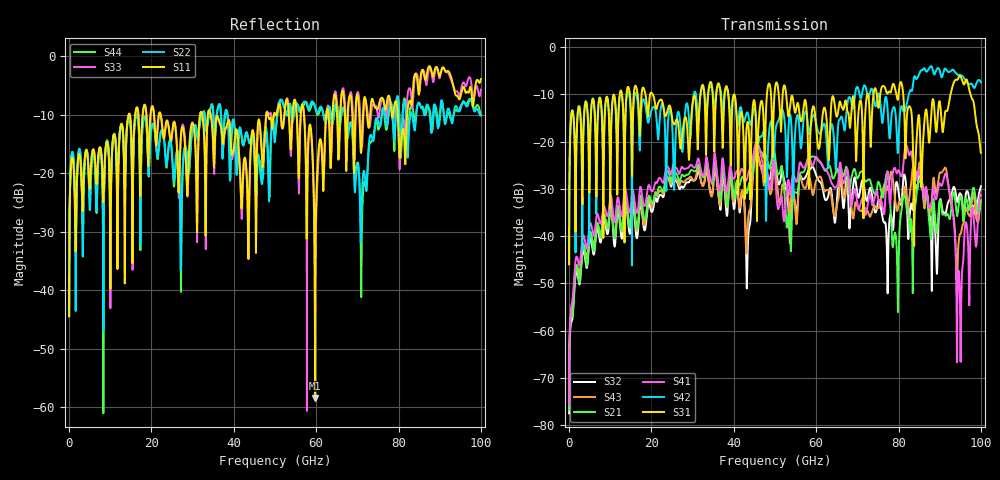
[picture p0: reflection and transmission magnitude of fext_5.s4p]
# Hz S RI R 50
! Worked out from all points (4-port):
!   10000 points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, 10 MHz to 100 GHz, reference 50 ohm
!   strongest paths, dB at 10 MHz, 25.01 GHz, 50.01 GHz, 75.01 GHz, 100 GHz:
!     S31: -46.0, -15.0, -8.7, -12.4, -22.4
!     S42: -45.9, -16.0, -18.9, -10.1, -7.5
!     S41: -75.7, -26.1, -26.6, -32.0, -31.5
!     S21: -76.7, -27.8, -23.0, -28.6, -32.6
!     S43: -76.8, -28.1, -25.4, -34.0, -32.4
!     S32: -77.5, -28.8, -24.1, -32.7, -29.5
!   lowest |S11| = -58.4 dB at 59.73 GHz (marker M1), VSWR 1.00, Z = 50.1 + j0.0909 ohm
!   |S11| at or under -10 dB: start of sweep to 14.44 GHz; 22.24 GHz to 31.79 GHz (9.548 GHz wide, 35.3 % of centre); 34.36 GHz to 47.86 GHz (13.5 GHz wide, 32.8 % of centre)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
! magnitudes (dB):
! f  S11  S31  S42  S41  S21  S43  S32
! 10 MHz  -44.4  -46.0  -45.9  -75.7  -76.7  -76.8  -77.5
! 10.07 GHz  -31.9  -26.7  -21.5  -31.6  -33.2  -33.0  -33.9
! 52.9 GHz  -7.3  -11.9  -27.5  -29.9  -38.2  -29.5  -30.6
! 59.73 GHz  -58.4  -14.2  -15.1  -23.6  -23.2  -29.1  -26.4
! 91.47 GHz  -2.6  -13.5  -4.6  -26.8  -35.7  -25.7  -35.1
! 94.65 GHz  -7.3  -6.3  -5.9  -47.6  -33.1  -40.9  -31.5
! 100 GHz  -3.9  -22.4  -7.5  -31.5  -32.6  -32.4  -29.5
